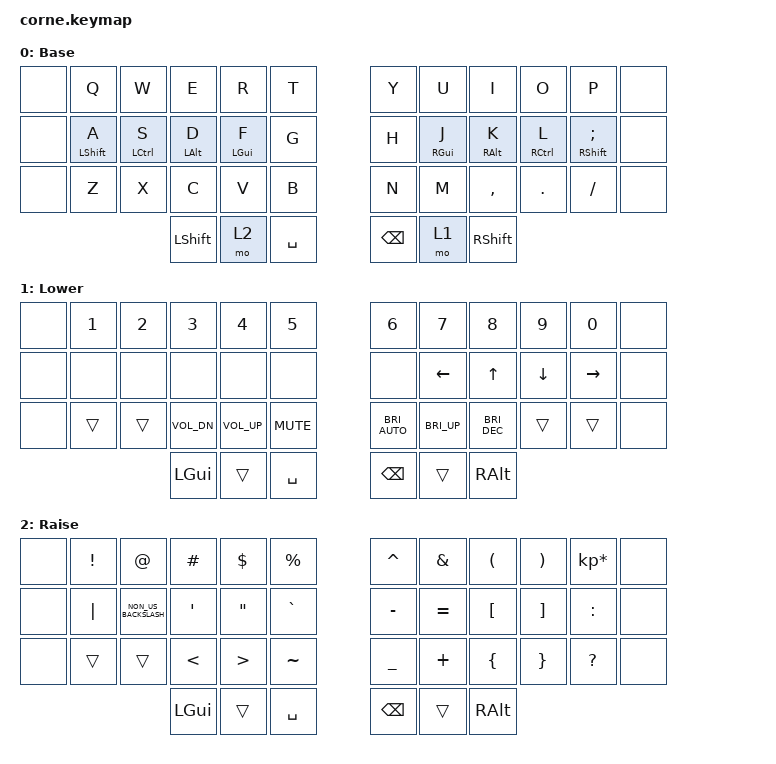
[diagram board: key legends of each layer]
/*
 * Copyright (c) 2020 The ZMK Contributors
 *
 * SPDX-License-Identifier: MIT
 */

#include <behaviors.dtsi>
#include <dt-bindings/zmk/keys.h>

/ {
    combos {
        compatible = "zmk,combos";

        enterCombo {
            bindings = <&kp ENTER>;
            key-positions = <38 39>;
            layers = <0 1 2>;
        };

        capsLockCombo {
            bindings = <&kp CAPSLOCK>;
            key-positions = <36 41>;
        };

        tabCombo {
            bindings = <&kp TAB>;
            key-positions = <17 38>;
        };

        escapeCombo {
            bindings = <&kp ESC>;
            key-positions = <18 39>;
        };
    };

    behaviors {
        hml: homewrow_mods_left {
            compatible = "zmk,behavior-hold-tap";
            label = "HOMEROW_MODS_LEFT_HAND";
            bindings = <&kp>, <&kp>;

            #binding-cells = <2>;
            tapping-term-ms = <200>;
            hold-trigger-key-positions = <6 7 8 9 10 6 7 8 9 10 11 18 19 20 21 22 23 30 31 33 34 35 32 41 39 40>;
            flavor = "balanced";
        };

        hmr: homewrow_mods_right {
            compatible = "zmk,behavior-hold-tap";
            label = "HOMEROW_MODS_RIGHT_HAND";
            bindings = <&kp>, <&kp>;

            #binding-cells = <2>;
            tapping-term-ms = <200>;
            hold-trigger-key-positions = <0 1 1 2 3 4 5 13 14 15 16 17 25 26 27 28 29 36 37 38 12 24>;
            flavor = "balanced";
        };
    };

    keymap {
        compatible = "zmk,keymap";

        default_layer {
            // -----------------------------------------------------------------------------------------
            // |  TAB |  Q  |  W  |  E  |  R  |  T  |   |  Y  |  U   |  I  |  O  |  P  | BKSP |
            // | CTRL |  A  |  S  |  D  |  F  |  G  |   |  H  |  J   |  K  |  L  |  ;  |  '   |
            // | SHFT |  Z  |  X  |  C  |  V  |  B  |   |  N  |  M   |  ,  |  .  |  /  | ESC  |
            //                    | GUI | LWR | SPC |   | ENT | RSE  | ALT |

            label = "Base";
            bindings = <
&none  &kp Q              &kp W         &kp E            &kp R            &kp T        &kp Y          &kp U             &kp I             &kp O         &kp P                       &none
&none  &hml LEFT_SHIFT A  &hml LCTRL S  &hml LEFT_ALT D  &hml LEFT_GUI F  &kp G        &kp H          &hmr RIGHT_GUI J  &hmr RIGHT_ALT K  &hmr RCTRL L  &hmr RIGHT_SHIFT SEMICOLON  &none
&none  &kp Z              &kp X         &kp C            &kp V            &kp B        &kp N          &kp M             &kp COMMA         &kp DOT       &kp FSLH                    &none
                                        &kp LEFT_SHIFT   &mo 2            &kp SPACE    &kp BACKSPACE  &mo 1             &kp RIGHT_SHIFT
            >;
        };

        lower_layer {
            // -----------------------------------------------------------------------------------------
            // |  TAB |  1  |  2  |  3  |  4  |  5  |   |  6  |  7  |  8  |  9  |  0  | BKSP |
            // | BTCLR| BT1 | BT2 | BT3 | BT4 | BT5 |   | LFT | DWN |  UP | RGT |     |      |
            // | SHFT |     |     |     |     |     |   |     |     |     |     |     |      |
            //                    | GUI |     | SPC |   | ENT |     | ALT |

            label = "Lower";
            bindings = <
&none  &kp N1  &kp N2  &kp N3        &kp N4        &kp N5        &kp N6                 &kp N7        &kp N8                &kp N9    &kp N0     &none
&none  &none   &none   &none         &none         &none         &none                  &kp LEFT      &kp UP                &kp DOWN  &kp RIGHT  &none
&none  &trans  &trans  &kp C_VOL_DN  &kp C_VOL_UP  &kp C_MUTE    &kp C_BRIGHTNESS_AUTO  &kp C_BRI_UP  &kp C_BRIGHTNESS_DEC  &trans    &trans     &none
                       &kp LGUI      &trans        &kp SPACE     &kp BACKSPACE          &trans        &kp RALT
            >;
        };

        raise_layer {
            // -----------------------------------------------------------------------------------------
            // |  TAB |  !  |  @  |  #  |  $  |  %  |   |  ^  |  &  |  *  |  (  |  )  | BKSP |
            // | CTRL |     |     |     |     |     |   |  -  |  =  |  [  |  ]  |  \  |  `   |
            // | SHFT |     |     |     |     |     |   |  _  |  +  |  {  |  }  | "|" |  ~   |
            //                    | GUI |     | SPC |   | ENT |     | ALT |

            label = "Raise";
            bindings = <
&none  &kp EXCL  &kp AT                &kp HASH       &kp DLLR           &kp PRCNT    &kp CARET      &kp AMPS   &kp LEFT_PARENTHESIS  &kp RIGHT_PARENTHESIS  &kp KP_MULTIPLY  &none
&none  &kp PIPE  &kp NON_US_BACKSLASH  &kp SQT        &kp DOUBLE_QUOTES  &kp GRAVE    &kp MINUS      &kp EQUAL  &kp LBKT              &kp RBKT               &kp COLON        &none
&none  &trans    &trans                &kp LESS_THAN  &kp GREATER_THAN   &kp TILDE    &kp UNDER      &kp PLUS   &kp LBRC              &kp RBRC               &kp QUESTION     &none
                                       &kp LGUI       &trans             &kp SPACE    &kp BACKSPACE  &trans     &kp RALT
            >;
        };
    };
};
